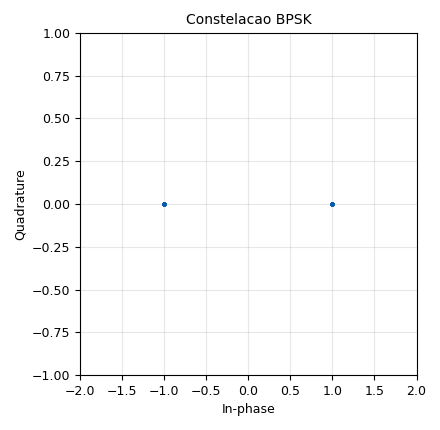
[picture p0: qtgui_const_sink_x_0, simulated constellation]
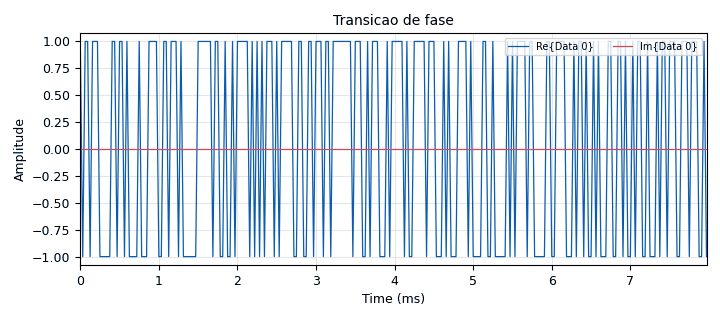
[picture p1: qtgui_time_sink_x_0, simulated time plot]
options:
  parameters:
    author: labsdr
    generate_options: qt_gui
    id: top_block
    output_language: python
    title: BPSK
  states: {}

blocks:
- name: const_0
  id: variable
  parameters:
    value: (digital.constellation_bpsk())
  states: {}
- name: samp_rate
  id: variable
  parameters:
    value: '32000'
  states: {}
- name: analog_random_source_x_0
  id: analog_random_source_x
  parameters:
    max: '2'
    min: '0'
    num_samps: '100000'
    repeat: 'True'
    type: byte
  states: {}
- name: blocks_complex_to_real_0
  id: blocks_complex_to_real
  parameters: {}
  states: {}
- name: blocks_throttle_0
  id: blocks_throttle
  parameters:
    samples_per_second: samp_rate
    type: byte
  states: {}
- name: blocks_throttle_1
  id: blocks_throttle
  parameters:
    samples_per_second: samp_rate
    type: byte
  states: {}
- name: digital_binary_slicer_fb_0
  id: digital_binary_slicer_fb
  parameters: {}
  states: {}
- name: digital_chunks_to_symbols_xx_0
  id: digital_chunks_to_symbols_xx
  parameters:
    dimension: '1'
    in_type: byte
    out_type: complex
    symbol_table: const_0.points()
  states: {}
- name: fec_ber_bf_0
  id: fec_ber_bf
  parameters:
    test_mode: 'False'
  states: {}
- name: qtgui_const_sink_x_0
  id: qtgui_const_sink_x
  parameters:
    gui_hint: 0,1,1,1
    name: '"Constelacao BPSK"'
    size: '1024'
    type: complex
    ymax: '1'
    ymin: '-1'
  states: {}
- name: qtgui_number_sink_0
  id: qtgui_number_sink
  parameters:
    graph_type: qtgui.NUM_GRAPH_HORIZ
    max: '100'
    min: '-100'
    name: '"BER"'
    type: float
  states: {}
- name: qtgui_time_sink_x_0
  id: qtgui_time_sink_x
  parameters:
    entags: 'False'
    gui_hint: 0,0,1,1
    name: '"Transicao de fase"'
    size: '256'
    srate: samp_rate
    type: complex
  states: {}

connections:
- [analog_random_source_x_0, '0', blocks_throttle_0, '0']
- [analog_random_source_x_0, '0', digital_chunks_to_symbols_xx_0, '0']
- [blocks_complex_to_real_0, '0', digital_binary_slicer_fb_0, '0']
- [blocks_throttle_0, '0', fec_ber_bf_0, '0']
- [blocks_throttle_1, '0', fec_ber_bf_0, '1']
- [digital_binary_slicer_fb_0, '0', blocks_throttle_1, '0']
- [digital_chunks_to_symbols_xx_0, '0', blocks_complex_to_real_0, '0']
- [digital_chunks_to_symbols_xx_0, '0', qtgui_const_sink_x_0, '0']
- [digital_chunks_to_symbols_xx_0, '0', qtgui_time_sink_x_0, '0']
- [fec_ber_bf_0, '0', qtgui_number_sink_0, '0']

metadata:
  file_format: 1
